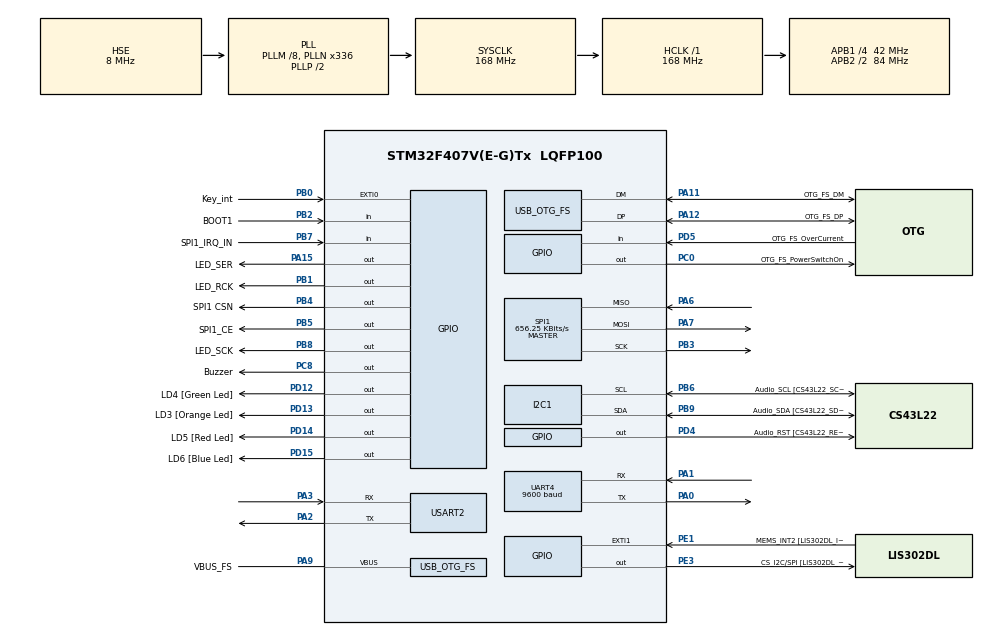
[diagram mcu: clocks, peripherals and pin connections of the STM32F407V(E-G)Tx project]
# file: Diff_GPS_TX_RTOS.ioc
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FREERTOS.INCLUDE_pcTaskGetTaskName=1
FREERTOS.INCLUDE_xEventGroupSetBitFromISR=1
FREERTOS.INCLUDE_xTaskGetHandle=1
FREERTOS.Tasks01=defaultTask,24,128,StartDefaultTask,Default,NULL,Dynamic,NULL,NULL
FREERTOS.configTOTAL_HEAP_SIZE=64000
FREERTOS.configUSE_NEWLIB_REENTRANT=1
Mcu.Family=STM32F4
Mcu.Name=STM32F407V(E-G)Tx
Mcu.Package=LQFP100
NVIC.EXTI0_IRQn=true\:5\:0\:false\:false\:true\:true\:true\:true\:true
NVIC.OTG_FS_IRQn=true\:5\:0\:false\:false\:true\:true\:true\:true\:true
NVIC.PriorityGroup=NVIC_PRIORITYGROUP_4
NVIC.TIM1_UP_TIM10_IRQn=true\:0\:0\:false\:false\:true\:false\:false\:true\:true
NVIC.TimeBase=TIM1_UP_TIM10_IRQn
NVIC.TimeBaseIP=TIM1
NVIC.UART4_IRQn=true\:5\:0\:false\:false\:true\:true\:true\:true\:true
NVIC.USART2_IRQn=true\:5\:0\:false\:false\:true\:true\:true\:true\:true
PA0-WKUP.Mode=Asynchronous
PA0-WKUP.Signal=UART4_TX
PA1.Mode=Asynchronous
PA1.Signal=UART4_RX
PA10.GPIO_Label=OTG_FS_ID
PA10.GPIO_Mode=GPIO_MODE_AF_PP
PA10.GPIO_PuPd=GPIO_NOPULL
PA10.GPIO_Speed=GPIO_SPEED_FREQ_LOW
PA10.Signal=USB_OTG_FS_ID
PA11.GPIO_Label=OTG_FS_DM
PA11.GPIO_Mode=GPIO_MODE_AF_PP
PA11.GPIO_PuPd=GPIO_NOPULL
PA11.GPIO_Speed=GPIO_SPEED_FREQ_LOW
PA11.Mode=Host_Only
PA11.Signal=USB_OTG_FS_DM
PA12.GPIO_Label=OTG_FS_DP
PA12.GPIO_Mode=GPIO_MODE_AF_PP
PA12.GPIO_PuPd=GPIO_NOPULL
PA12.GPIO_Speed=GPIO_SPEED_FREQ_LOW
PA12.Mode=Host_Only
PA12.Signal=USB_OTG_FS_DP
PA13.GPIO_Label=SWDIO
PA13.Mode=Serial_Wire
PA13.Signal=SYS_JTMS-SWDIO
PA14.GPIO_Label=SWCLK
PA14.Mode=Serial_Wire
PA14.Signal=SYS_JTCK-SWCLK
PA15.GPIO_Label=LED_SER
PA15.Signal=GPIO_Output
PA2.Mode=Asynchronous
PA2.Signal=USART2_TX
PA3.Mode=Asynchronous
PA3.Signal=USART2_RX
PA6.Mode=Full_Duplex_Master
PA6.Signal=SPI1_MISO
PA7.Mode=Full_Duplex_Master
PA7.Signal=SPI1_MOSI
PA9.GPIO_Label=VBUS_FS
PA9.GPIO_Mode=GPIO_MODE_INPUT
PA9.GPIO_PuPd=GPIO_NOPULL
PA9.Mode=Activate_VBUS
PA9.Signal=USB_OTG_FS_VBUS
PB0.GPIO_Label=Key_int
PB0.Signal=GPXTI0
PB1.GPIO_Label=LED_RCK
PB1.Signal=GPIO_Output
PB10.GPIO_Label=CLK_IN [MP45DT02_CLK]
PB10.GPIO_Mode=GPIO_MODE_AF_PP
PB10.GPIO_PuPd=GPIO_NOPULL
PB10.GPIO_Speed=GPIO_SPEED_FREQ_LOW
PB10.Signal=I2S2_CK
PB2.GPIO_Label=BOOT1
PB2.GPIO_Mode=GPIO_MODE_INPUT
PB2.GPIO_PuPd=GPIO_NOPULL
PB2.Signal=GPIO_Input
PB3.Mode=Full_Duplex_Master
PB3.Signal=SPI1_SCK
PB4.GPIO_Label=SPI1 CSN
PB4.Signal=GPIO_Output
PB5.GPIO_Label=SPI1_CE
PB5.Signal=GPIO_Output
PB6.GPIO_Label=Audio_SCL [CS43L22_SCL]
PB6.GPIO_Mode=GPIO_MODE_AF_OD
PB6.GPIO_Pu=GPIO_PULLUP
PB6.GPIO_PuPd=GPIO_NOPULL
PB6.GPIO_Speed=GPIO_SPEED_FREQ_LOW
PB6.Mode=I2C
PB6.Signal=I2C1_SCL
PB7.GPIO_Label=SPI1_IRQ_IN
PB7.Signal=GPIO_Input
PB8.GPIO_Label=LED_SCK
PB8.Signal=GPIO_Output
PB9.GPIO_Label=Audio_SDA [CS43L22_SDA]
PB9.GPIO_Mode=GPIO_MODE_AF_OD
PB9.GPIO_Pu=GPIO_PULLUP
PB9.GPIO_PuPd=GPIO_NOPULL
PB9.GPIO_Speed=GPIO_SPEED_FREQ_LOW
PB9.Mode=I2C
PB9.Signal=I2C1_SDA
PC0.GPIO_Label=OTG_FS_PowerSwitchOn
PC0.GPIO_PuPd=GPIO_NOPULL
PC0.GPIO_Speed=GPIO_SPEED_FREQ_LOW
PC0.PinState=GPIO_PIN_SET
PC0.Signal=GPIO_Output
PC10.GPIO_Label=I2S3_SCK [CS43L22_SCLK]
PC10.GPIO_Mode=GPIO_MODE_AF_PP
PC10.GPIO_PuPd=GPIO_NOPULL
PC10.GPIO_Speed=GPIO_SPEED_FREQ_LOW
PC10.Signal=I2S3_CK
PC12.Signal=I2S3_SD
PC14-OSC32_IN.GPIO_Label=PC14-OSC32_IN
PC14-OSC32_IN.Mode=LSE-External-Oscillator
PC14-OSC32_IN.Signal=RCC_OSC32_IN
PC15-OSC32_OUT.GPIO_Label=PC15-OSC32_OUT
PC15-OSC32_OUT.Mode=LSE-External-Oscillator
PC15-OSC32_OUT.Signal=RCC_OSC32_OUT
PC3.GPIO_Label=PDM_OUT [MP45DT02_DOUT]
PC3.GPIO_Mode=GPIO_MODE_AF_PP
PC3.GPIO_PuPd=GPIO_NOPULL
PC3.GPIO_Speed=GPIO_SPEED_FREQ_LOW
PC3.Signal=I2S2_SD
PC7.GPIO_Label=I2S3_MCK [CS43L22_MCLK]
PC7.GPIO_Mode=GPIO_MODE_AF_PP
PC7.GPIO_PuPd=GPIO_NOPULL
PC7.GPIO_Speed=GPIO_SPEED_FREQ_LOW
PC7.Signal=I2S3_MCK
PC8.GPIO_Label=Buzzer
PC8.Signal=GPIO_Output
PD12.GPIO_Label=LD4 [Green Led]
PD12.GPIO_PuPd=GPIO_NOPULL
PD12.GPIO_Speed=GPIO_SPEED_FREQ_LOW
PD12.Signal=GPIO_Output
PD13.GPIO_Label=LD3 [Orange Led]
PD13.GPIO_PuPd=GPIO_NOPULL
PD13.GPIO_Speed=GPIO_SPEED_FREQ_LOW
PD13.Signal=GPIO_Output
PD14.GPIO_Label=LD5 [Red Led]
PD14.GPIO_PuPd=GPIO_NOPULL
PD14.GPIO_Speed=GPIO_SPEED_FREQ_LOW
PD14.Signal=GPIO_Output
PD15.GPIO_Label=LD6 [Blue Led]
PD15.GPIO_PuPd=GPIO_NOPULL
PD15.GPIO_Speed=GPIO_SPEED_FREQ_LOW
PD15.Signal=GPIO_Output
PD4.GPIO_Label=Audio_RST [CS43L22_RESET]
PD4.GPIO_PuPd=GPIO_NOPULL
PD4.GPIO_Speed=GPIO_SPEED_FREQ_LOW
PD4.Signal=GPIO_Output
PD5.GPIO_Label=OTG_FS_OverCurrent
PD5.GPIO_Mode=GPIO_MODE_INPUT
PD5.GPIO_PuPd=GPIO_NOPULL
PD5.Signal=GPIO_Input
PE1.GPIO_Label=MEMS_INT2 [LIS302DL_INT2]
PE1.GPIO_ModeDefaultEXTI=GPIO_MODE_EVT_RISING
PE1.GPIO_PuPd=GPIO_NOPULL
PE1.Signal=GPXTI1
PE3.GPIO_Label=CS_I2C/SPI [LIS302DL_CS_I2C/SPI]
PE3.GPIO_PuPd=GPIO_NOPULL
PE3.GPIO_Speed=GPIO_SPEED_FREQ_LOW
PE3.Signal=GPIO_Output
PH0-OSC_IN.GPIO_Label=PH0-OSC_IN
PH0-OSC_IN.Mode=HSE-External-Oscillator
PH0-OSC_IN.Signal=RCC_OSC_IN
PH1-OSC_OUT.GPIO_Label=PH1-OSC_OUT
PH1-OSC_OUT.Mode=HSE-External-Oscillator
PH1-OSC_OUT.Signal=RCC_OSC_OUT
ProjectManager.HeapSize=0x200
ProjectManager.StackSize=0x400
ProjectManager.TargetToolchain=STM32CubeIDE
RCC.48MHZClocksFreq_Value=48000000
RCC.AHBFreq_Value=168000000
RCC.APB1CLKDivider=RCC_HCLK_DIV4
RCC.APB1Freq_Value=42000000
RCC.APB1TimFreq_Value=84000000
RCC.APB2CLKDivider=RCC_HCLK_DIV2
RCC.APB2Freq_Value=84000000
RCC.APB2TimFreq_Value=168000000
RCC.CortexFreq_Value=168000000
RCC.HCLKFreq_Value=168000000
RCC.HSE_VALUE=8000000
RCC.HSI_VALUE=16000000
RCC.PLLM=8
RCC.PLLN=336
RCC.PLLQ=7
RCC.SYSCLKFreq_VALUE=168000000
RCC.SYSCLKSource=RCC_SYSCLKSOURCE_PLLCLK
RCC.VCOOutputFreq_Value=336000000
SPI1.BaudRatePrescaler=SPI_BAUDRATEPRESCALER_128
SPI1.CalculateBaudRate=656.25 KBits/s
SPI1.Direction=SPI_DIRECTION_2LINES
SPI1.Mode=SPI_MODE_MASTER
SPI1.VirtualType=VM_MASTER
UART4.BaudRate=9600
UART4.VirtualMode=Asynchronous
USART2.VirtualMode=VM_ASYNC
USB_HOST.BSP.number=1
USB_HOST.USBH_HandleTypeDef-CDC_FS=hUsbHostFS
USB_HOST.VirtualModeFS=Cdc
USB_HOST0.BSP.STBoard=false
USB_HOST0.BSP.api=Unknown
USB_HOST0.BSP.instance=PC0
USB_HOST0.BSP.ip=GPIO
USB_HOST0.BSP.mode=Output
USB_HOST0.BSP.name=Drive_VBUS_FS
USB_HOST0.BSP.solution=PC0
USB_OTG_FS.VirtualMode=Host_Only
USB_OTG_FS.phy_itface=HCD_PHY_EMBEDDED
VP_FREERTOS_VS_CMSIS_V2.Mode=CMSIS_V2
VP_SYS_VS_tim1.Mode=TIM1
VP_USB_HOST_VS_USB_HOST_CDC_FS.Mode=CDC_FS
board=STM32F407G-DISC1

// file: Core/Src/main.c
/* USER CODE BEGIN Header */
/**
  ******************************************************************************
  * @file           : main.c
  * @brief          : Main program body
  *
  ******************************************************************************
  * @attention Het grootste deel van deze main.c wordt gegenereerd door STM.
  * Eigen code bevindt zich op 'gereserveerde' plekken, wees daar voorzichtig mee.
  * Om deze reden heb ik zo min mogelijk 'eigen code' toegevoegd.
  *
  * <h2><center>&copy; Copyright (c) 2021 STMicroelectronics.
  * All rights reserved.</center></h2>
  *
  * This software component is licensed by ST under Ultimate Liberty license
  * SLA0044, the "License"; You may not use this file except in compliance with
  * the License. You may obtain a copy of the License at:
  *                             www.st.com/SLA0044
  *
  ******************************************************************************
  */
/* USER CODE END Header */
#include "main.h"
#include "cmsis_os.h"
#include "usb_host.h"

/* USER CODE BEGIN Includes */
#include "admin.h"
#include "NRF24.h"
#include "NRF24_reg_addresses.h"

/* USER CODE END Includes */

I2C_HandleTypeDef hi2c1;

SPI_HandleTypeDef hspi1;

UART_HandleTypeDef huart4;
UART_HandleTypeDef huart2;

/* Definitions for defaultTask */
osThreadId_t defaultTaskHandle;
const osThreadAttr_t defaultTask_attributes = {
  .name = "defaultTask",
  .stack_size = 128 * 4,
  .priority = (osPriority_t) osPriorityNormal,
};
/* USER CODE BEGIN PV */
// UART RX and TX buffers
unsigned char       uart4_char, uart2_char;
/* USER CODE END PV */

void SystemClock_Config(void);
static void MX_GPIO_Init(void);
static void MX_I2C1_Init(void);
static void MX_USART2_UART_Init(void);
static void MX_UART4_Init(void);
static void MX_SPI1_Init(void);
void StartDefaultTask(void *argument);

int main(void)
{

  /* MCU Configuration--------------------------------------------------------*/

  /* Reset of all peripherals, Initializes the Flash interface and the Systick. */
  HAL_Init();

  /* Configure the system clock */
  SystemClock_Config();

  /* Initialize all configured peripherals */
  MX_GPIO_Init();
  MX_I2C1_Init();
  MX_USART2_UART_Init();
  MX_UART4_Init();
  MX_SPI1_Init();
  /* USER CODE BEGIN 2 */

  LCD_init();
  KEYS_init();
  KEYS_initISR(1); // set all lines high once
  LED_init();

  DisplayVersion();
  osDelay(500); // time to read version

  /* USER CODE END 2 */

  /* Init scheduler */
  osKernelInitialize();

  /* Create the thread(s) */
  /* creation of defaultTask */
  defaultTaskHandle = osThreadNew(StartDefaultTask, NULL, &defaultTask_attributes);

  /* Start scheduler */
  osKernelStart();

  /* We should never get here as control is now taken by the scheduler */

  /* Infinite loop */
  while (1)
  {

  }
}

void SystemClock_Config(void)
{
  RCC_OscInitTypeDef RCC_OscInitStruct = {0};
  RCC_ClkInitTypeDef RCC_ClkInitStruct = {0};

  /** Configure the main internal regulator output voltage
  */
  __HAL_RCC_PWR_CLK_ENABLE();
  __HAL_PWR_VOLTAGESCALING_CONFIG(PWR_REGULATOR_VOLTAGE_SCALE1);

  /** Initializes the RCC Oscillators according to the specified parameters
  * in the RCC_OscInitTypeDef structure.
  */
  RCC_OscInitStruct.OscillatorType = RCC_OSCILLATORTYPE_HSE;
  RCC_OscInitStruct.HSEState = RCC_HSE_ON;
  RCC_OscInitStruct.PLL.PLLState = RCC_PLL_ON;
  RCC_OscInitStruct.PLL.PLLSource = RCC_PLLSOURCE_HSE;
  RCC_OscInitStruct.PLL.PLLM = 8;
  RCC_OscInitStruct.PLL.PLLN = 336;
  RCC_OscInitStruct.PLL.PLLP = RCC_PLLP_DIV2;
  RCC_OscInitStruct.PLL.PLLQ = 7;
  if (HAL_RCC_OscConfig(&RCC_OscInitStruct) != HAL_OK)
  {
    Error_Handler();
  }

  /** Initializes the CPU, AHB and APB buses clocks
  */
  RCC_ClkInitStruct.ClockType = RCC_CLOCKTYPE_HCLK|RCC_CLOCKTYPE_SYSCLK
                              |RCC_CLOCKTYPE_PCLK1|RCC_CLOCKTYPE_PCLK2;
  RCC_ClkInitStruct.SYSCLKSource = RCC_SYSCLKSOURCE_PLLCLK;
  RCC_ClkInitStruct.AHBCLKDivider = RCC_SYSCLK_DIV1;
  RCC_ClkInitStruct.APB1CLKDivider = RCC_HCLK_DIV4;
  RCC_ClkInitStruct.APB2CLKDivider = RCC_HCLK_DIV2;

  if (HAL_RCC_ClockConfig(&RCC_ClkInitStruct, FLASH_LATENCY_5) != HAL_OK)
  {
    Error_Handler();
  }
}

static void MX_I2C1_Init(void)
{

  hi2c1.Instance = I2C1;
  hi2c1.Init.ClockSpeed = 100000;
  hi2c1.Init.DutyCycle = I2C_DUTYCYCLE_2;
  hi2c1.Init.OwnAddress1 = 0;
  hi2c1.Init.AddressingMode = I2C_ADDRESSINGMODE_7BIT;
  hi2c1.Init.DualAddressMode = I2C_DUALADDRESS_DISABLE;
  hi2c1.Init.OwnAddress2 = 0;
  hi2c1.Init.GeneralCallMode = I2C_GENERALCALL_DISABLE;
  hi2c1.Init.NoStretchMode = I2C_NOSTRETCH_DISABLE;
  if (HAL_I2C_Init(&hi2c1) != HAL_OK)
  {
    Error_Handler();
  }

}

static void MX_SPI1_Init(void)
{

  /* SPI1 parameter configuration*/
  hspi1.Instance = SPI1;
  hspi1.Init.Mode = SPI_MODE_MASTER;
  hspi1.Init.Direction = SPI_DIRECTION_2LINES;
  hspi1.Init.DataSize = SPI_DATASIZE_8BIT;
  hspi1.Init.CLKPolarity = SPI_POLARITY_LOW;
  hspi1.Init.CLKPhase = SPI_PHASE_1EDGE;
  hspi1.Init.NSS = SPI_NSS_SOFT;
  hspi1.Init.BaudRatePrescaler = SPI_BAUDRATEPRESCALER_128;
  hspi1.Init.FirstBit = SPI_FIRSTBIT_MSB;
  hspi1.Init.TIMode = SPI_TIMODE_DISABLE;
  hspi1.Init.CRCCalculation = SPI_CRCCALCULATION_DISABLE;
  hspi1.Init.CRCPolynomial = 10;
  if (HAL_SPI_Init(&hspi1) != HAL_OK)
  {
    Error_Handler();
  }

}

static void MX_UART4_Init(void)
{

  huart4.Instance = UART4;
  huart4.Init.BaudRate = 115200;
  huart4.Init.WordLength = UART_WORDLENGTH_8B;
  huart4.Init.StopBits = UART_STOPBITS_1;
  huart4.Init.Parity = UART_PARITY_NONE;
  huart4.Init.Mode = UART_MODE_TX_RX;
  huart4.Init.HwFlowCtl = UART_HWCONTROL_NONE;
  huart4.Init.OverSampling = UART_OVERSAMPLING_16;
  if (HAL_UART_Init(&huart4) != HAL_OK)
  {
    Error_Handler();
  }

}

static void MX_USART2_UART_Init(void)
{

  huart2.Instance = USART2;
  huart2.Init.BaudRate = 115200;
  huart2.Init.WordLength = UART_WORDLENGTH_8B;
  huart2.Init.StopBits = UART_STOPBITS_1;
  huart2.Init.Parity = UART_PARITY_NONE;
  huart2.Init.Mode = UART_MODE_TX_RX;
  huart2.Init.HwFlowCtl = UART_HWCONTROL_NONE;
  huart2.Init.OverSampling = UART_OVERSAMPLING_16;
  if (HAL_UART_Init(&huart2) != HAL_OK)
  {
    Error_Handler();
  }

}

static void MX_GPIO_Init(void)
{
  GPIO_InitTypeDef GPIO_InitStruct = {0};

  /* GPIO Ports Clock Enable */
  __HAL_RCC_GPIOE_CLK_ENABLE();
  __HAL_RCC_GPIOC_CLK_ENABLE();
  __HAL_RCC_GPIOH_CLK_ENABLE();
  __HAL_RCC_GPIOA_CLK_ENABLE();
  __HAL_RCC_GPIOB_CLK_ENABLE();
  __HAL_RCC_GPIOD_CLK_ENABLE();

  /*Configure GPIO pin Output Level */
  HAL_GPIO_WritePin(CS_I2C_SPI_GPIO_Port, CS_I2C_SPI_Pin, GPIO_PIN_RESET);

  /*Configure GPIO pin Output Level */
  HAL_GPIO_WritePin(OTG_FS_PowerSwitchOn_GPIO_Port, OTG_FS_PowerSwitchOn_Pin, GPIO_PIN_SET);

  /*Configure GPIO pin Output Level */
  HAL_GPIO_WritePin(GPIOB, LED_RCK_Pin|SPI1_CSN_Pin|SPI1_CE_Pin|LED_SCK_Pin, GPIO_PIN_RESET);

  /*Configure GPIO pin Output Level */
  HAL_GPIO_WritePin(GPIOD, LD4_Pin|LD3_Pin|LD5_Pin|LD6_Pin
                          |Audio_RST_Pin, GPIO_PIN_RESET);

  /*Configure GPIO pin Output Level */
  HAL_GPIO_WritePin(Buzzer_GPIO_Port, Buzzer_Pin, GPIO_PIN_RESET);

  /*Configure GPIO pin Output Level */
  HAL_GPIO_WritePin(LED_SER_GPIO_Port, LED_SER_Pin, GPIO_PIN_RESET);

  /*Configure GPIO pin : CS_I2C_SPI_Pin */
  GPIO_InitStruct.Pin = CS_I2C_SPI_Pin;
  GPIO_InitStruct.Mode = GPIO_MODE_OUTPUT_PP;
  GPIO_InitStruct.Pull = GPIO_NOPULL;
  GPIO_InitStruct.Speed = GPIO_SPEED_FREQ_LOW;
  HAL_GPIO_Init(CS_I2C_SPI_GPIO_Port, &GPIO_InitStruct);

  /*Configure GPIO pins : OTG_FS_PowerSwitchOn_Pin Buzzer_Pin */
  GPIO_InitStruct.Pin = OTG_FS_PowerSwitchOn_Pin|Buzzer_Pin;
  GPIO_InitStruct.Mode = GPIO_MODE_OUTPUT_PP;
  GPIO_InitStruct.Pull = GPIO_NOPULL;
  GPIO_InitStruct.Speed = GPIO_SPEED_FREQ_LOW;
  HAL_GPIO_Init(GPIOC, &GPIO_InitStruct);

  /*Configure GPIO pin : PDM_OUT_Pin */
  GPIO_InitStruct.Pin = PDM_OUT_Pin;
  GPIO_InitStruct.Mode = GPIO_MODE_AF_PP;
  GPIO_InitStruct.Pull = GPIO_NOPULL;
  GPIO_InitStruct.Speed = GPIO_SPEED_FREQ_LOW;
  GPIO_InitStruct.Alternate = GPIO_AF5_SPI2;
  HAL_GPIO_Init(PDM_OUT_GPIO_Port, &GPIO_InitStruct);

  /*Configure GPIO pin : Key_int_Pin */
  GPIO_InitStruct.Pin = Key_int_Pin;
  GPIO_InitStruct.Mode = GPIO_MODE_IT_RISING;
  GPIO_InitStruct.Pull = GPIO_NOPULL;
  HAL_GPIO_Init(Key_int_GPIO_Port, &GPIO_InitStruct);

  /*Configure GPIO pins : LED_RCK_Pin SPI1_CSN_Pin SPI1_CE_Pin LED_SCK_Pin */
  GPIO_InitStruct.Pin = LED_RCK_Pin|SPI1_CSN_Pin|SPI1_CE_Pin|LED_SCK_Pin;
  GPIO_InitStruct.Mode = GPIO_MODE_OUTPUT_PP;
  GPIO_InitStruct.Pull = GPIO_NOPULL;
  GPIO_InitStruct.Speed = GPIO_SPEED_FREQ_LOW;
  HAL_GPIO_Init(GPIOB, &GPIO_InitStruct);

  /*Configure GPIO pins : BOOT1_Pin SPI1_IRQ_IN_Pin */
  GPIO_InitStruct.Pin = BOOT1_Pin|SPI1_IRQ_IN_Pin;
  GPIO_InitStruct.Mode = GPIO_MODE_INPUT;
  GPIO_InitStruct.Pull = GPIO_NOPULL;
  HAL_GPIO_Init(GPIOB, &GPIO_InitStruct);

  /*Configure GPIO pin : CLK_IN_Pin */
  GPIO_InitStruct.Pin = CLK_IN_Pin;
  GPIO_InitStruct.Mode = GPIO_MODE_AF_PP;
  GPIO_InitStruct.Pull = GPIO_NOPULL;
  GPIO_InitStruct.Speed = GPIO_SPEED_FREQ_LOW;
  GPIO_InitStruct.Alternate = GPIO_AF5_SPI2;
  HAL_GPIO_Init(CLK_IN_GPIO_Port, &GPIO_InitStruct);

  /*Configure GPIO pins : LD4_Pin LD3_Pin LD5_Pin LD6_Pin
                           Audio_RST_Pin */
  GPIO_InitStruct.Pin = LD4_Pin|LD3_Pin|LD5_Pin|LD6_Pin
                          |Audio_RST_Pin;
  GPIO_InitStruct.Mode = GPIO_MODE_OUTPUT_PP;
  GPIO_InitStruct.Pull = GPIO_NOPULL;
  GPIO_InitStruct.Speed = GPIO_SPEED_FREQ_LOW;
  HAL_GPIO_Init(GPIOD, &GPIO_InitStruct);

  /*Configure GPIO pins : I2S3_MCK_Pin I2S3_SCK_Pin PC12 */
  GPIO_InitStruct.Pin = I2S3_MCK_Pin|I2S3_SCK_Pin|GPIO_PIN_12;
  GPIO_InitStruct.Mode = GPIO_MODE_AF_PP;
  GPIO_InitStruct.Pull = GPIO_NOPULL;
  GPIO_InitStruct.Speed = GPIO_SPEED_FREQ_LOW;
  GPIO_InitStruct.Alternate = GPIO_AF6_SPI3;
  HAL_GPIO_Init(GPIOC, &GPIO_InitStruct);

  /*Configure GPIO pin : LED_SER_Pin */
  GPIO_InitStruct.Pin = LED_SER_Pin;
  GPIO_InitStruct.Mode = GPIO_MODE_OUTPUT_PP;
  GPIO_InitStruct.Pull = GPIO_NOPULL;
  GPIO_InitStruct.Speed = GPIO_SPEED_FREQ_LOW;
  HAL_GPIO_Init(LED_SER_GPIO_Port, &GPIO_InitStruct);

  /*Configure GPIO pin : OTG_FS_OverCurrent_Pin */
  GPIO_InitStruct.Pin = OTG_FS_OverCurrent_Pin;
  GPIO_InitStruct.Mode = GPIO_MODE_INPUT;
  GPIO_InitStruct.Pull = GPIO_NOPULL;
  HAL_GPIO_Init(OTG_FS_OverCurrent_GPIO_Port, &GPIO_InitStruct);

  /*Configure GPIO pin : MEMS_INT2_Pin */
  GPIO_InitStruct.Pin = MEMS_INT2_Pin;
  GPIO_InitStruct.Mode = GPIO_MODE_EVT_RISING;
  GPIO_InitStruct.Pull = GPIO_NOPULL;
  HAL_GPIO_Init(MEMS_INT2_GPIO_Port, &GPIO_InitStruct);

  /* EXTI interrupt init*/
  HAL_NVIC_SetPriority(EXTI0_IRQn, 5, 0);
  HAL_NVIC_EnableIRQ(EXTI0_IRQn);

  /* USER CODE BEGIN MX_GPIO_Init_2 */

  /*----------------------*/
  /* SPI1 pins            */
  /*----------------------*/

  /* PB3 -> SPI1_SCK */
  GPIO_InitStruct.Pin = GPIO_PIN_3;
  GPIO_InitStruct.Mode = GPIO_MODE_AF_PP;
  GPIO_InitStruct.Pull = GPIO_NOPULL;
  GPIO_InitStruct.Speed = GPIO_SPEED_FREQ_VERY_HIGH;
  GPIO_InitStruct.Alternate = GPIO_AF5_SPI1;
  HAL_GPIO_Init(GPIOB, &GPIO_InitStruct);

  /* PA6 -> SPI1_MISO */
  GPIO_InitStruct.Pin = GPIO_PIN_6;
  GPIO_InitStruct.Mode = GPIO_MODE_AF_PP;
  GPIO_InitStruct.Pull = GPIO_NOPULL;
  GPIO_InitStruct.Speed = GPIO_SPEED_FREQ_VERY_HIGH;
  GPIO_InitStruct.Alternate = GPIO_AF5_SPI1;
  HAL_GPIO_Init(GPIOA, &GPIO_InitStruct);

  /* PA7 -> SPI1_MOSI */
  GPIO_InitStruct.Pin = GPIO_PIN_7;
  GPIO_InitStruct.Mode = GPIO_MODE_AF_PP;
  GPIO_InitStruct.Pull = GPIO_NOPULL;
  GPIO_InitStruct.Speed = GPIO_SPEED_FREQ_VERY_HIGH;
  GPIO_InitStruct.Alternate = GPIO_AF5_SPI1;
  HAL_GPIO_Init(GPIOA, &GPIO_InitStruct);

  /* USER CODE END MX_GPIO_Init_2 */
}

/* USER CODE BEGIN 4 */

/* only used in UART interrupt mode. Now configured as local UART echo*/

/**
  * @brief  ISR die UART-characters op een Queue zet. De core-functie wordt gegenereerd.
  * <p>Demonstreert: xQueueSendFromISR(); portYIELD_FROM_ISR();</p>
  * @param huart
  * @return void.
  */
void HAL_UART_RxCpltCallback(UART_HandleTypeDef *huart)
{
	BaseType_t          xHigherPriorityTaskWoken = pdFALSE;

	// receive terminal user commands
	if (huart->Instance == USART2)
	{
		/// Receive one byte in interrupt mode
		HAL_UART_Receive_IT(&huart2, &uart2_char, 1);

		/// Zet de byte op de UART_queue
		xQueueSendFromISR(hUART_Queue, &uart2_char, &xHigherPriorityTaskWoken);
		if (xHigherPriorityTaskWoken != pdFALSE)
			portYIELD_FROM_ISR(xHigherPriorityTaskWoken); // force context switch
	}

	// receive GPS-data
	if (huart->Instance == UART4)
	{
		/// Receive one byte in interrupt mode
		HAL_UART_Receive_IT(&huart4, &uart4_char, 1);

		/// Zet de byte op de GPS_queue
		xQueueSendFromISR(hGPS_Queue, &uart4_char, &xHigherPriorityTaskWoken);
		if (xHigherPriorityTaskWoken != pdFALSE)
			portYIELD_FROM_ISR(xHigherPriorityTaskWoken); // force context switch
	}

}

/* USER CODE END 4 */

void StartDefaultTask(void *argument)
{
  /* init code for USB_HOST */
  MX_USB_HOST_Init();
  /* USER CODE BEGIN 5 */

  CreateHandles();
  CreateTasks();

  // start the interrupt handlers after all handles are created
  HAL_UART_Receive_IT(&huart2, &uart2_char, 1); //start the UART2 interrupt engine for reading
  HAL_UART_Receive_IT(&huart4, &uart4_char, 1); //start the UART4 interrupt engine GPS

  // UART_putint(byte2); UART_puts("\r\n"); // deze byte (de eerste) is nog een irritante bug.

  /* Infinite loop */
  for(;;)
  {
    osDelay(1);
    vTaskDelete(defaultTaskHandle); // remove this default task
  }
  /* USER CODE END 5 */
}

void HAL_TIM_PeriodElapsedCallback(TIM_HandleTypeDef *htim)
{
  if (htim->Instance == TIM1)
  {
    HAL_IncTick();
  }
}

void Error_Handler(void)
{
  __disable_irq();
  while (1)
  {
  }
}
